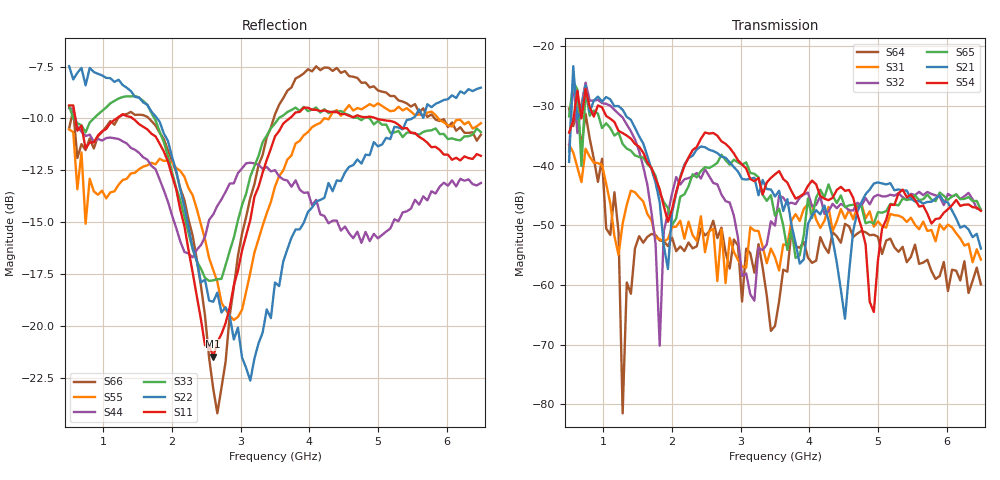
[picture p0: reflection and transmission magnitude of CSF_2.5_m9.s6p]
!Keysight Technologies,M9804A,MY58100912,A.14.10.03
!Date: Thursday, April 27, 2023 10:28:33
!Correction: S11(C  6-Port  )
!S12(C  6-Port  )
!S13(C  6-Port  )
!S14(C  6-Port  )
!S15(C  6-Port  )
!S16(C  6-Port  )
!S21(C  6-Port  )
!S22(C  6-Port  )
!S23(C  6-Port  )
!S24(C  6-Port  )
!S25(C  6-Port  )
!S26(C  6-Port  )
!S31(C  6-Port  )
!S32(C  6-Port  )
!S33(C  6-Port  )
!S34(C  6-Port  )
!S35(C  6-Port  )
!S36(C  6-Port  )
!S41(C  6-Port  )
!S42(C  6-Port  )
!S43(C  6-Port  )
!S44(C  6-Port  )
!S45(C  6-Port  )
!S46(C  6-Port  )
!S51(C  6-Port  )
!S52(C  6-Port  )
!S53(C  6-Port  )
!S54(C  6-Port  )
!S55(C  6-Port  )
!S56(C  6-Port  )
!S61(C  6-Port  )
!S62(C  6-Port  )
!S63(C  6-Port  )
!S64(C  6-Port  )
!S65(C  6-Port  )
!S66(C  6-Port  )
!S6P File: Measurement: :
# Hz S  RI  R 50
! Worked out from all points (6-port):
!   101 points, 500 MHz to 6.5 GHz, reference 50 ohm
!   strongest paths, dB at 500 MHz, 2 GHz, 3.5 GHz, 5 GHz, 6.5 GHz:
!     S54: -34.5, -47.3, -41.5, -55.9, -47.6
!     S21: -39.4, -47.9, -45.2, -42.8, -53.9
!     S65: -31.7, -50.0, -48.4, -47.8, -47.4
!     S32: -37.6, -44.7, -50.1, -44.9, -47.4
!     S31: -36.5, -50.3, -55.4, -49.4, -55.8
!     S64: -30.4, -52.1, -66.9, -51.9, -59.9
!   lowest |S11| = -21.5 dB at 2.6 GHz (marker M1), VSWR 1.18, Z = 42.5 + j2.15 ohm
!   |S11| at or under -10 dB: 591 MHz to 1.191 GHz (600.1 MHz wide, 67.3 % of centre); 1.428 GHz to 3.71 GHz (2.282 GHz wide, 88.9 % of centre); 4.975 GHz to end of sweep
